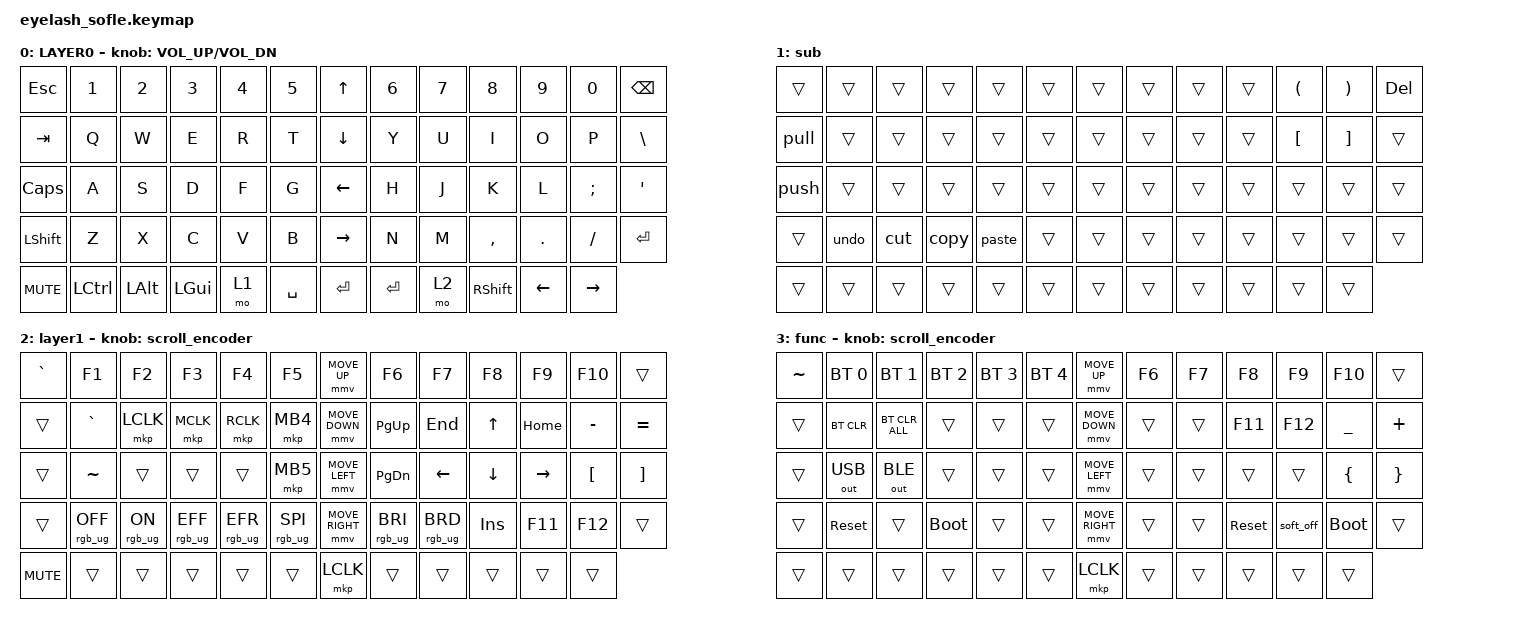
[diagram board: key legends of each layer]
#define ZMK_POINTING_DEFAULT_MOVE_VAL 1200  // 600
#define ZMK_POINTING_DEFAULT_SCRL_VAL 25   // 10

#include <input/processors.dtsi>
#include <zephyr/dt-bindings/input/input-event-codes.h>
#include <behaviors.dtsi>
#include <dt-bindings/zmk/bt.h>
#include <dt-bindings/zmk/keys.h>
#include <dt-bindings/zmk/outputs.h>
#include <dt-bindings/zmk/pointing.h>
#include <dt-bindings/zmk/rgb.h>

&mmv_input_listener { input-processors = <&zip_xy_scaler 2 1>; };

&msc_input_listener { input-processors = <&zip_scroll_scaler 2 1>; };

&msc {
    acceleration-exponent = <1>;      // 0
    time-to-max-speed-ms = <100>;       // 300
    delay-ms = <0>;                   // 0
};

&mmv {
    time-to-max-speed-ms = <500>;
    acceleration-exponent = <1>;
    trigger-period-ms = <16>;
};

/ {
    scroll_encoder: scroll_encoder {
        compatible = "zmk,behavior-sensor-rotate";
        #sensor-binding-cells = <0>;
        bindings = <&msc SCRL_DOWN>, <&msc SCRL_UP>;

        tap-ms = <100>;
    };

    combos {
        compatible = "zmk,combos";

        brackets {
            bindings = <&kp LEFT_BRACE>;
            key-positions = <17 16>;
            layers = <0>;
        };

        right {
            bindings = <&kp RIGHT_BRACE>;
            key-positions = <21 22>;
        };
    };

    macros {
        copy: copy {
            compatible = "zmk,behavior-macro";
            #binding-cells = <0>;
            bindings = <&kp LG(C)>;
            label = "COPY";
        };

        paste: paste {
            compatible = "zmk,behavior-macro";
            #binding-cells = <0>;
            bindings = <&kp LG(V)>;
            label = "PASTE";
        };

        cut: cut {
            compatible = "zmk,behavior-macro";
            #binding-cells = <0>;
            bindings = <&kp LG(X)>;
            label = "CUT";
        };

        undo: undo {
            compatible = "zmk,behavior-macro";
            #binding-cells = <0>;
            bindings = <&kp LG(Z)>;
            label = "UNDO";
        };

        pull: pull {
            compatible = "zmk,behavior-macro";
            #binding-cells = <0>;
            bindings = <&kp G &kp I &kp T &kp SPACE &kp P &kp U &kp L &kp L>;
            label = "PULL";
        };

        push: push {
            compatible = "zmk,behavior-macro";
            #binding-cells = <0>;
            bindings = <&kp G &kp I &kp T &kp SPACE &kp P &kp U &kp S &kp H>;
            label = "PUSH";
        };
    };

    behaviors {
    };

    keymap {
        compatible = "zmk,keymap";

        main {
            bindings = <
&kp ESC     &kp N1     &kp N2        &kp N3        &kp N4  &kp N5       &kp UP_ARROW     &kp N6     &kp N7  &kp N8           &kp N9    &kp N0     &kp BACKSPACE
&kp TAB     &kp Q      &kp W         &kp E         &kp R   &kp T        &kp DOWN_ARROW   &kp Y      &kp U   &kp I            &kp O     &kp P      &kp BSLH
&kp CAPS    &kp A      &kp S         &kp D         &kp F   &kp G        &kp LEFT_ARROW   &kp H      &kp J   &kp K            &kp L     &kp SEMI   &kp APOS
&kp LSHFT   &kp Z      &kp X         &kp C         &kp V   &kp B        &kp RIGHT_ARROW  &kp N      &kp M   &kp COMMA        &kp DOT   &kp FSLH   &kp ENTER
&kp C_MUTE  &kp LCTRL  &kp LEFT_ALT  &kp LEFT_GUI  &mo 1   &kp SPACE    &kp ENTER        &kp ENTER  &mo 2   &kp RIGHT_SHIFT  &kp LEFT  &kp RIGHT
            >;

            sensor-bindings = <&inc_dec_kp C_VOLUME_UP C_VOL_DN>;
            display-name = "LAYER0";
            label = "main";
        };

        sub {
            bindings = <
&trans  &trans  &trans  &trans  &trans  &trans    &trans  &trans  &trans  &trans  &kp LEFT_PARENTHESIS  &kp RIGHT_PARENTHESIS  &kp DEL
&pull   &trans  &trans  &trans  &trans  &trans    &trans  &trans  &trans  &trans  &kp LEFT_BRACKET      &kp RIGHT_BRACKET      &trans
&push   &trans  &trans  &trans  &trans  &trans    &trans  &trans  &trans  &trans  &trans                &trans                 &trans
&trans  &undo   &cut    &copy   &paste  &trans    &trans  &trans  &trans  &trans  &trans                &trans                 &trans
&trans  &trans  &trans  &trans  &trans  &trans    &trans  &trans  &trans  &trans  &trans                &trans
            >;

            label = "sub";
        };

        nav {
            bindings = <
&kp GRAVE   &kp F1           &kp F2          &kp F3           &kp F4           &kp F5             &mmv MOVE_UP     &kp F6           &kp F7           &kp F8      &kp F9     &kp F10           &trans
&trans      &kp GRAVE        &mkp LCLK       &mkp MCLK        &mkp RCLK        &mkp MB4           &mmv MOVE_DOWN   &kp PG_UP        &kp END          &kp UP      &kp HOME   &kp MINUS         &kp EQUAL
&trans      &kp TILDE        &trans          &trans           &trans           &mkp MB5           &mmv MOVE_LEFT   &kp PG_DN        &kp LEFT         &kp DOWN    &kp RIGHT  &kp LEFT_BRACKET  &kp RIGHT_BRACKET
&trans      &rgb_ug RGB_OFF  &rgb_ug RGB_ON  &rgb_ug RGB_EFF  &rgb_ug RGB_EFR  &rgb_ug RGB_SPI    &mmv MOVE_RIGHT  &rgb_ug RGB_BRI  &rgb_ug RGB_BRD  &kp INSERT  &kp F11    &kp F12           &trans
&kp C_MUTE  &trans           &trans          &trans           &trans           &trans             &mkp LCLK        &trans           &trans           &trans      &trans     &trans
            >;

            display-name = "layer1";
            sensor-bindings = <&scroll_encoder>;
            label = "nav";
        };

        func {
            bindings = <
&kp TILDE  &bt BT_SEL 0  &bt BT_SEL 1    &bt BT_SEL 2  &bt BT_SEL 3  &bt BT_SEL 4    &mmv MOVE_UP     &kp F6  &kp F7  &kp F8      &kp F9     &kp F10      &trans
&trans     &bt BT_CLR    &bt BT_CLR_ALL  &trans        &trans        &trans          &mmv MOVE_DOWN   &trans  &trans  &kp F11     &kp F12    &kp UNDER    &kp PLUS
&trans     &out OUT_USB  &out OUT_BLE    &trans        &trans        &trans          &mmv MOVE_LEFT   &trans  &trans  &trans      &trans     &kp LBRC     &kp RBRC
&trans     &sys_reset    &trans          &bootloader   &trans        &trans          &mmv MOVE_RIGHT  &trans  &trans  &sys_reset  &soft_off  &bootloader  &trans
&trans     &trans        &trans          &trans        &trans        &trans          &mkp LCLK        &trans  &trans  &trans      &trans     &trans
            >;

            sensor-bindings = <&scroll_encoder>;
            label = "func";
        };
    };

    conditional_layers {
        compatible = "zmk,conditional-layers";

        both {
            if-layers = <1 2>;
            then-layer = <3>;
        };
    };
};
